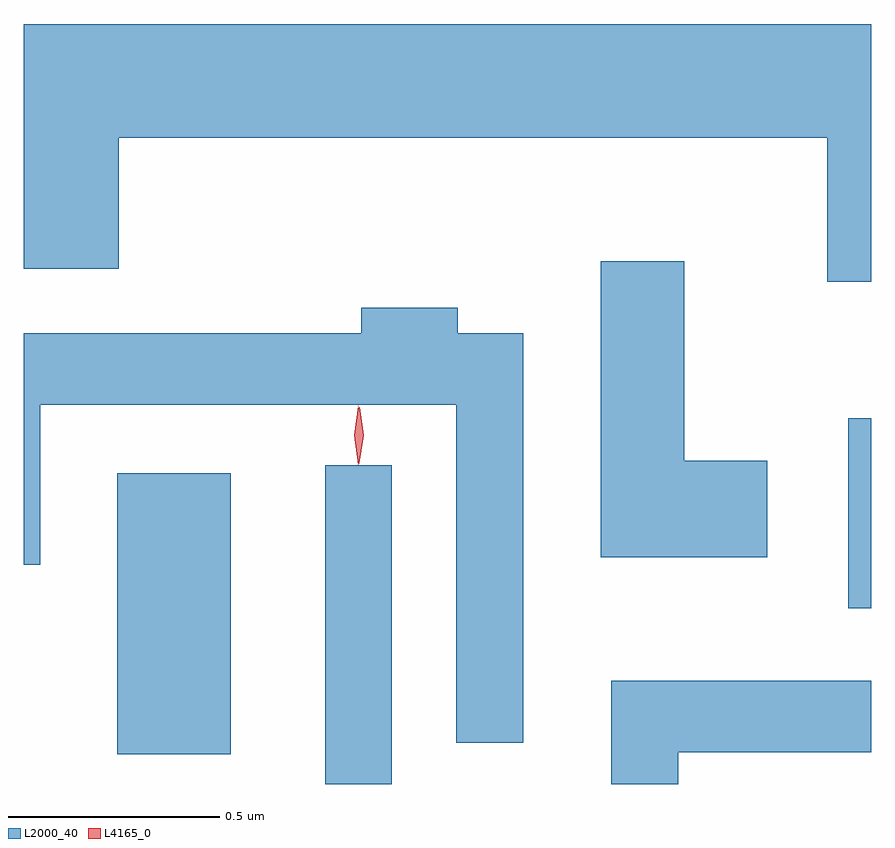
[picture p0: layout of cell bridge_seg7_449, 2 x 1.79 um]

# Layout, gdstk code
import gdstk
lib = gdstk.Library(unit=1e-6, precision=1e-09)
def R(c, l, rs):  # rectangles x0, y0, x1, y1
    for r in rs: c.add(gdstk.rectangle(r[:2], r[2:], *l))
def P(c, l, *ps):  # polygons
    for p in ps: c.add(gdstk.Polygon(p, *l))
L2000_40 = (2000, 40)
L4165_0 = (4165, 0)

bridge_seg7_449 = lib.new_cell('bridge_seg7_449')
R(bridge_seg7_449, L2000_40, [(1167.396,1692.811,1167.554,1693.563), (1166.906,1692.881,1167.174,1693.544), (1168.631,1693.226,1168.685,1693.674)])
P(bridge_seg7_449, L2000_40, [(1168.685,1694.604),(1166.685,1694.604),(1166.685,1694.026),(1166.909,1694.026),(1166.909,1694.336),(1168.581,1694.336),(1168.581,1693.996),(1168.685,1693.996)],
  [(1168.439,1693.574),(1168.244,1693.574),(1168.244,1694.044),(1168.046,1694.044),(1168.046,1693.346),(1168.439,1693.346)],
  [(1167.864,1693.874),(1167.709,1693.874),(1167.709,1693.934),(1167.481,1693.934),(1167.481,1693.874),(1166.685,1693.874),(1166.685,1693.328),(1166.724,1693.328),(1166.724,1693.706),(1167.706,1693.706),(1167.706,1692.908),(1167.864,1692.908)],
  [(1168.229,1692.886),(1168.685,1692.886),(1168.685,1693.054),(1168.071,1693.054),(1168.071,1692.811),(1168.229,1692.811)])
P(bridge_seg7_449, L4165_0, [(1167.474,1693.564),(1167.465,1693.634),(1167.474,1693.702),(1167.475,1693.703),(1167.475,1693.702),(1167.485,1693.634),(1167.475,1693.564),(1167.475,1693.564)],
  [(1167.477,1693.567),(1167.476,1693.568),(1167.467,1693.634),(1167.477,1693.7),(1167.477,1693.7),(1167.478,1693.7),(1167.487,1693.634),(1167.477,1693.568)])

lib.write_gds('bridge_seg7_449.gds')
